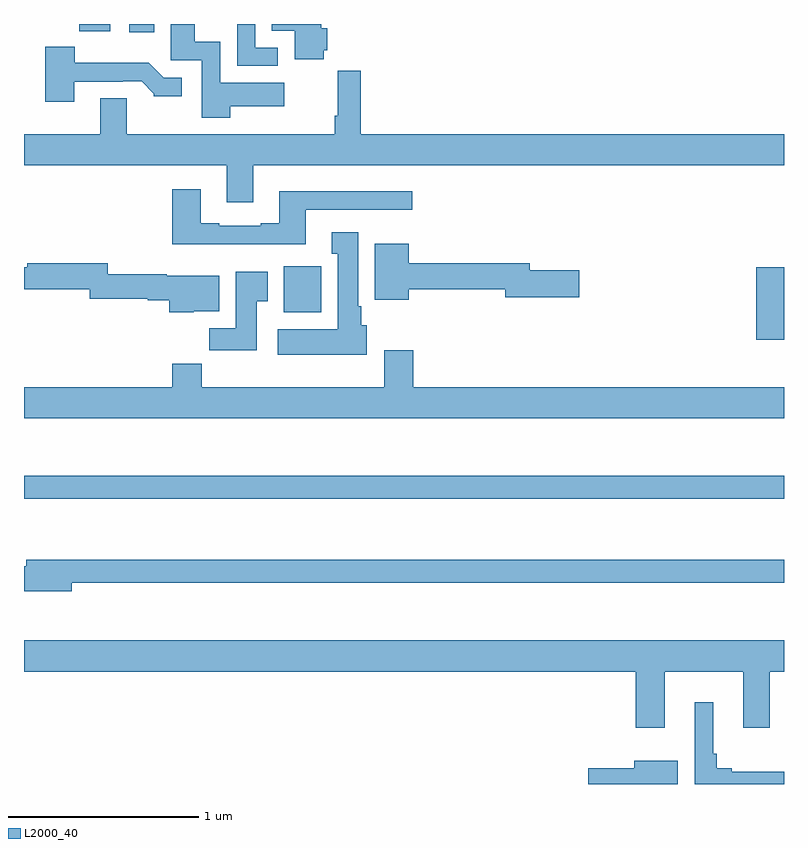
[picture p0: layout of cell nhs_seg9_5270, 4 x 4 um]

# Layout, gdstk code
import gdstk
lib = gdstk.Library(unit=1e-6, precision=1e-09)
def R(c, l, rs):  # rectangles x0, y0, x1, y1
    for r in rs: c.add(gdstk.rectangle(r[:2], r[2:], *l))
def P(c, l, *ps):  # polygons
    for p in ps: c.add(gdstk.Polygon(p, *l))
L2000_40 = (2000, 40)

nhs_seg9_5270 = lib.new_cell('nhs_seg9_5270')
R(nhs_seg9_5270, L2000_40, [(417,1192.002,421,1192.123), (420.854,1192.839,421,1193.22), (418.367,1192.982,418.564,1193.224), (417.554,1194.456,417.685,1194.5), (417.292,1194.461,417.454,1194.5)])
P(nhs_seg9_5270, L2000_40, [(418.577,1194.363),(418.595,1194.363),(418.595,1194.477),(418.564,1194.477),(418.564,1194.5),(418.303,1194.5),(418.303,1194.464),(418.424,1194.464),(418.424,1194.314),(418.577,1194.314)],
  [(418.085,1194.068),(418.369,1194.068),(418.369,1194.19),(418.032,1194.19),(418.032,1194.406),(417.898,1194.406),(417.898,1194.5),(417.773,1194.5),(417.773,1194.309),(417.936,1194.309),(417.936,1194.006),(418.085,1194.006)],
  [(418.336,1194.375),(418.218,1194.375),(418.218,1194.5),(418.122,1194.5),(418.122,1194.279),(418.336,1194.279)],
  [(417.265,1194.195),(417.521,1194.195),(417.521,1194.198),(417.62,1194.198),(417.684,1194.134),(417.684,1194.119),(417.829,1194.119),(417.829,1194.216),(417.735,1194.216),(417.657,1194.295),(417.268,1194.295),(417.268,1194.379),(417.113,1194.379),(417.113,1194.09),(417.265,1194.09)],
  [(418.207,1193.756),(421,1193.756),(421,1193.92),(418.772,1193.92),(418.772,1194.253),(418.651,1194.253),(418.651,1194.016),(418.636,1194.016),(418.636,1193.92),(417.541,1193.92),(417.541,1194.11),(417.401,1194.11),(417.401,1193.92),(417,1193.92),(417,1193.756),(418.067,1193.756),(418.067,1193.562),(418.207,1193.562)],
  [(418.483,1193.523),(419.044,1193.523),(419.044,1193.62),(418.343,1193.62),(418.343,1193.452),(418.247,1193.452),(418.247,1193.439),(418.027,1193.439),(418.027,1193.452),(417.931,1193.452),(417.931,1193.629),(417.779,1193.629),(417.779,1193.342),(418.483,1193.342)],
  [(418.804,1192.914),(418.774,1192.914),(418.774,1193.014),(418.759,1193.014),(418.759,1193.404),(418.619,1193.404),(418.619,1193.291),(418.652,1193.291),(418.652,1192.894),(418.335,1192.894),(418.335,1192.76),(418.804,1192.76)],
  [(419.026,1193.104),(419.534,1193.104),(419.534,1193.062),(419.923,1193.062),(419.923,1193.204),(419.662,1193.204),(419.662,1193.24),(419.026,1193.24),(419.026,1193.344),(418.847,1193.344),(418.847,1193.048),(419.026,1193.048)],
  [(417.894,1192.988),(418.027,1192.988),(418.027,1193.176),(417.751,1193.176),(417.751,1193.183),(417.441,1193.183),(417.441,1193.24),(417.016,1193.24),(417.016,1193.221),(417,1193.221),(417,1193.104),(417.345,1193.104),(417.345,1193.055),(417.651,1193.055),(417.651,1193.047),(417.764,1193.047),(417.764,1192.982),(417.894,1192.982)],
  [(418.225,1193.041),(418.282,1193.041),(418.282,1193.197),(418.115,1193.197),(418.115,1192.9),(417.976,1192.9),(417.976,1192.782),(418.225,1192.782)],
  [(421,1192.588),(419.048,1192.588),(419.048,1192.783),(418.895,1192.783),(418.895,1192.588),(417.935,1192.588),(417.935,1192.712),(417.779,1192.712),(417.779,1192.588),(417,1192.588),(417,1192.424),(421,1192.424)],
  [(417.25,1191.558),(421,1191.558),(421,1191.679),(417.011,1191.679),(417.011,1191.645),(417,1191.645),(417,1191.515),(417.25,1191.515)],
  [(420.373,1191.092),(420.785,1191.092),(420.785,1190.796),(420.925,1190.796),(420.925,1191.092),(421,1191.092),(421,1191.256),(417,1191.256),(417,1191.092),(420.221,1191.092),(420.221,1190.796),(420.373,1190.796)],
  [(421,1190.565),(420.724,1190.565),(420.724,1190.582),(420.647,1190.582),(420.647,1190.659),(420.628,1190.659),(420.628,1190.929),(420.531,1190.929),(420.531,1190.5),(421,1190.5)],
  [(420.442,1190.623),(420.212,1190.623),(420.212,1190.582),(419.97,1190.582),(419.97,1190.5),(420.442,1190.5)])

lib.write_gds('nhs_seg9_5270.gds')
